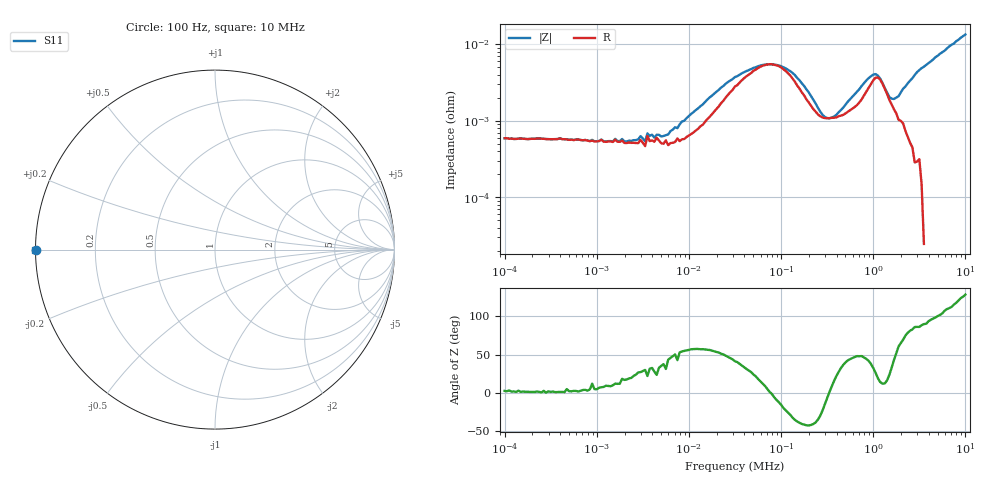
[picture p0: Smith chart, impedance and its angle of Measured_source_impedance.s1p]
! Created with skrf 2.0.1 (http://scikit-rf.org).
# Hz S RI R 50.0
!freq ReS11 ImS11
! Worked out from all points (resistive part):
!   201 points, 100 Hz to 10 MHz, reference 50 ohm
!   read as one part to ground: R = 592 uohm at 105.9 Hz
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100  -1 1.1e-06
446.6836  -1 4.05e-07
1883.649  -1 7.3e-06
7498.942  -1 2.17e-05
17782.79  -1 6.98e-05
31622.78  -0.9999 9.85e-05
47315.13  -0.9998 8.66e-05
59566.21  -0.9998 5.57e-05
74989.42  -0.9998 5.67e-06
100000  -0.9998 -5.5e-05
141253.8  -0.9999 -9.09e-05
188364.9  -0.9999 -6.91e-05
251188.6  -1 -3.37e-05
375837.4  -1 1.23e-05
562341.3  -0.9999 5.34e-05
707945.8  -0.9999 7.71e-05
891250.9  -0.9999 9.62e-05
1000000  -0.9999 8.64e-05
1122018  -0.9999 5.17e-05
1258925  -0.9999 2.63e-05
1412538  -0.9999 2.63e-05
1883649  -1 7.3e-05
2371374  -1 0.000121
3758374  -1 0.000214
5623413  -1 0.000306
7498942  -1 0.00037
7943282  -1 0.000389
1e7  -1 0.000422
